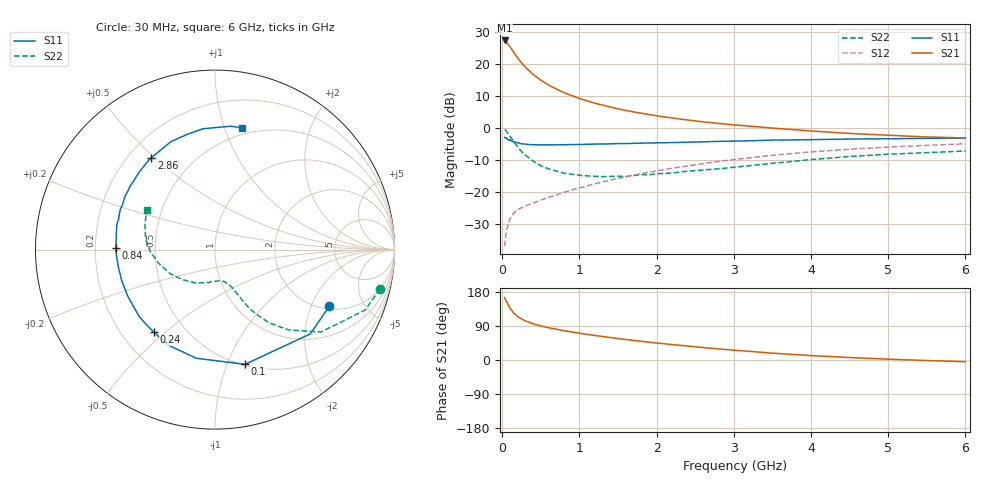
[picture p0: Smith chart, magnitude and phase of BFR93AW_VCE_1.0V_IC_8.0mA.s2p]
! Infineon Technologies  Discrete & RF Semiconductors
! BFR93AW
! VCE =  1.0 V,  IC =  8.0 mA
! Common Emitter S-Parameters:  Nov 2015
# GHz  S  MA  R  50
!  f  S11  S21  S12  S22
! GHz  MAG  ANG  MAG  ANG  MAG  ANG  MAG  ANG
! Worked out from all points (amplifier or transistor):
!   206 points, 30 MHz to 6 GHz, reference 50 ohm
!   highest |S21| = 27.3 dB at 30 MHz (marker M1)
!   |S21| within 3 dB of that: start of sweep to 128.8 MHz
!   unconditionally stable (mu >= 1): 761.5 MHz to 2.671 GHz
!   at 200 MHz: K = 0.43, MSG = 23.6 dB, |S12| = -25.4 dB
!   at 1.56 GHz: K = 1.10, MAG = 8.7 dB, |S12| = -15.4 dB
!   at 6 GHz: K = 0.98, MSG = 0.9 dB, |S12| = -4.9 dB
!   S11 on the Smith chart (normalised r, x): 30 MHz: 2.15, -2.73; 100 MHz: 0.51, -1.16; 240 MHz: 0.34, -0.46; 840 MHz: 0.29, +0.01; 2.86 GHz: 0.29, +0.49; 6 GHz: 0.44, +1.15
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0.03  0.7109 -26.2  23.1 165.1  0.0145 75.4  0.9447 -13.4
0.05  0.709 -41.5  22.28 155.1  0.0234 70.7  0.9024 -21.9
0.1  0.6606 -75.3  18.56 136.2  0.0385 58.6  0.7478 -37.9
0.15  0.6144 -99.7  14.92 123.2  0.0477 50.9  0.607 -47.5
0.2  0.5924 -116.2  12.28 114.4  0.0534 47.8  0.5063 -53.6
0.24  0.5721 -126.5  10.67 109.3  0.0569 46.6  0.4442 -56.5
0.26  0.5675 -131.0  9.985 106.9  0.0585 46.3  0.4186 -57.7
0.3  0.5636 -138.5  8.824 102.9  0.0615 46.1  0.3778 -59.7
0.4  0.551 -151.9  6.809 95.4  0.0681 48.0  0.3038 -62.3
0.5  0.5478 -161.7  5.548 89.6  0.0757 49.6  0.2588 -64.4
0.6  0.5469 -168.3  4.668 85.1  0.0837 51.4  0.2321 -65.7
0.7  0.5488 -174.5  4.047 81.0  0.0911 53.4  0.2135 -67.7
0.84  0.5521 178.8  3.409 76.0  0.1033 55.5  0.1951 -71.2
1.04  0.5568 170.8  2.787 69.5  0.1207 57.7  0.1821 -76.3
1.2  0.5649 165.5  2.435 64.8  0.1354 58.5  0.1778 -81.1
1.5  0.573 157.0  1.991 56.7  0.1643 59.5  0.1781 -91.0
2.02  0.5901 143.1  1.539 44.4  0.2175 58.2  0.195 -108.2
2.86  0.6227 124.7  1.164 28.2  0.3088 52.5  0.2356 -133.0
3.1  0.6292 119.8  1.096 24.4  0.3335 50.2  0.2511 -139.9
4.1  0.6629 101.8  0.886 10.7  0.4338 39.3  0.3303 -169.2
5.1  0.6827 87.7  0.763 1.4  0.5126 27.9  0.3959 168.4
6  0.6952 77.3  0.701 -4.6  0.57 18.1  0.4393 150.0
